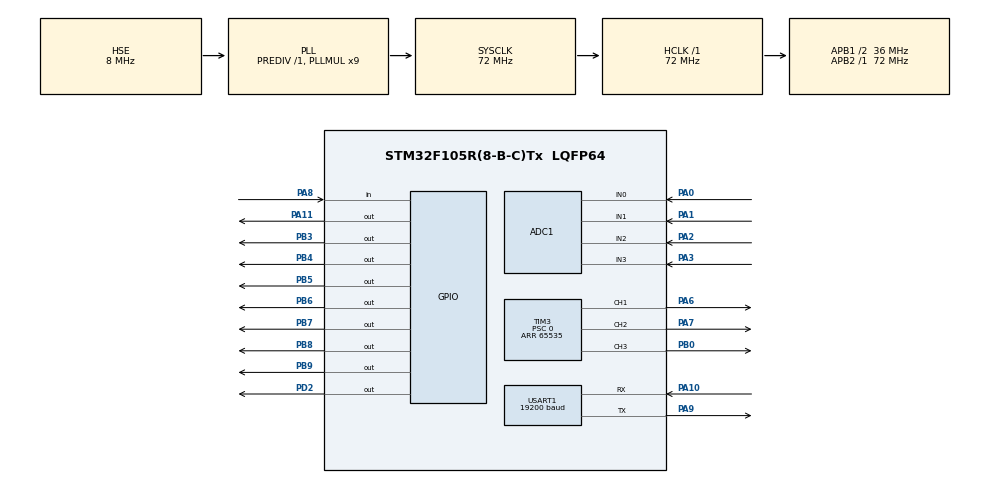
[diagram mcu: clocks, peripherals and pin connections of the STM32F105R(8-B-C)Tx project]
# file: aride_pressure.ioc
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ADC1.Channel-0\#ChannelRegularConversion=ADC_CHANNEL_0
ADC1.Channel-1\#ChannelInjectedConversion=ADC_CHANNEL_0
ADC1.Channel-2\#ChannelInjectedConversion=ADC_CHANNEL_1
ADC1.Channel-3\#ChannelInjectedConversion=ADC_CHANNEL_2
ADC1.Channel-4\#ChannelInjectedConversion=ADC_CHANNEL_3
ADC1.InjNumberOfConversion=4
ADC1.InjectedOffset-1\#ChannelInjectedConversion=0
ADC1.InjectedOffset-2\#ChannelInjectedConversion=0
ADC1.InjectedOffset-3\#ChannelInjectedConversion=0
ADC1.InjectedOffset-4\#ChannelInjectedConversion=0
ADC1.NbrOfConversionFlag=1
ADC1.Rank-0\#ChannelRegularConversion=1
ADC1.Rank-1\#ChannelInjectedConversion=1
ADC1.Rank-2\#ChannelInjectedConversion=2
ADC1.Rank-3\#ChannelInjectedConversion=3
ADC1.Rank-4\#ChannelInjectedConversion=4
ADC1.SamplingTime-0\#ChannelRegularConversion=ADC_SAMPLETIME_1CYCLE_5
ADC1.SamplingTime-1\#ChannelInjectedConversion=ADC_SAMPLETIME_239CYCLES_5
ADC1.SamplingTime-2\#ChannelInjectedConversion=ADC_SAMPLETIME_239CYCLES_5
ADC1.SamplingTime-3\#ChannelInjectedConversion=ADC_SAMPLETIME_239CYCLES_5
ADC1.SamplingTime-4\#ChannelInjectedConversion=ADC_SAMPLETIME_239CYCLES_5
ADC1.master=1
Dma.Request0=USART1_TX
Dma.USART1_TX.0.Direction=DMA_MEMORY_TO_PERIPH
Dma.USART1_TX.0.Instance=DMA1_Channel4
Dma.USART1_TX.0.MemDataAlignment=DMA_MDATAALIGN_BYTE
Dma.USART1_TX.0.MemInc=DMA_MINC_ENABLE
Dma.USART1_TX.0.Mode=DMA_NORMAL
Dma.USART1_TX.0.PeriphDataAlignment=DMA_PDATAALIGN_BYTE
Dma.USART1_TX.0.PeriphInc=DMA_PINC_DISABLE
Dma.USART1_TX.0.Priority=DMA_PRIORITY_LOW
FREERTOS.Tasks01=defaultTask,0,128,StartDefaultTask,Default,NULL
FREERTOS.configTOTAL_HEAP_SIZE=20000
Mcu.Family=STM32F1
Mcu.Name=STM32F105R(8-B-C)Tx
Mcu.Package=LQFP64
NVIC.ADC1_2_IRQn=true\:5\:0\:false\:false\:true\:true\:true\:true
NVIC.DMA1_Channel4_IRQn=true\:5\:0\:false\:false\:true\:true\:false\:true
NVIC.PriorityGroup=NVIC_PRIORITYGROUP_4
NVIC.TIM3_IRQn=true\:5\:0\:false\:false\:true\:true\:true\:true
NVIC.USART1_IRQn=true\:5\:0\:false\:false\:true\:true\:true\:true
PA0-WKUP.Signal=ADCx_IN0
PA1.Signal=ADCx_IN1
PA10.Mode=Asynchronous
PA10.Signal=USART1_RX
PA11.GPIO_Speed=GPIO_SPEED_FREQ_MEDIUM
PA11.PinState=GPIO_PIN_SET
PA11.Signal=GPIO_Output
PA13.Mode=Serial_Wire
PA13.Signal=SYS_JTMS-SWDIO
PA14.Mode=Serial_Wire
PA14.Signal=SYS_JTCK-SWCLK
PA2.Signal=ADCx_IN2
PA3.Signal=ADCx_IN3
PA6.Signal=S_TIM3_CH1
PA7.Signal=S_TIM3_CH2
PA8.Signal=GPIO_Input
PA9.Mode=Asynchronous
PA9.Signal=USART1_TX
PB0.Signal=S_TIM3_CH3
PB3.GPIO_Speed=GPIO_SPEED_FREQ_HIGH
PB3.Signal=GPIO_Output
PB4.GPIO_Speed=GPIO_SPEED_FREQ_HIGH
PB4.Signal=GPIO_Output
PB5.GPIO_Speed=GPIO_SPEED_FREQ_HIGH
PB5.Signal=GPIO_Output
PB6.GPIO_Speed=GPIO_SPEED_FREQ_HIGH
PB6.Signal=GPIO_Output
PB7.GPIO_Speed=GPIO_SPEED_FREQ_HIGH
PB7.Signal=GPIO_Output
PB8.GPIO_Speed=GPIO_SPEED_FREQ_HIGH
PB8.Signal=GPIO_Output
PB9.GPIO_Speed=GPIO_SPEED_FREQ_HIGH
PB9.Signal=GPIO_Output
PD0-OSC_IN.Mode=HSE-External-Oscillator
PD0-OSC_IN.Signal=RCC_OSC_IN
PD1-OSC_OUT.Mode=HSE-External-Oscillator
PD1-OSC_OUT.Signal=RCC_OSC_OUT
PD2.GPIO_Speed=GPIO_SPEED_FREQ_HIGH
PD2.Signal=GPIO_Output
ProjectManager.HeapSize=0x200
ProjectManager.StackSize=0x400
ProjectManager.TargetToolchain=TrueSTUDIO
RCC.ADCPresc=RCC_ADCPCLK2_DIV6
RCC.AHBFreq_Value=72000000
RCC.APB1CLKDivider=RCC_HCLK_DIV2
RCC.APB1Freq_Value=36000000
RCC.APB1TimFreq_Value=72000000
RCC.APB2Freq_Value=72000000
RCC.APB2TimFreq_Value=72000000
RCC.HCLKFreq_Value=72000000
RCC.PLLMUL=RCC_PLL_MUL9
RCC.PLLSourceVirtual=RCC_PLLSOURCE_HSE
RCC.SYSCLKFreq_VALUE=72000000
RCC.SYSCLKSource=RCC_SYSCLKSOURCE_PLLCLK
RCC.USBFreq_Value=48000000
SH.ADCx_IN0.0=ADC1_IN0,IN0
SH.ADCx_IN1.0=ADC1_IN1,IN1
SH.ADCx_IN2.0=ADC1_IN2,IN2
SH.ADCx_IN3.0=ADC1_IN3,IN3
SH.S_TIM3_CH1.0=TIM3_CH1,PWM Generation1 CH1
SH.S_TIM3_CH2.0=TIM3_CH2,PWM Generation2 CH2
SH.S_TIM3_CH3.0=TIM3_CH3,PWM Generation3 CH3
TIM3.Channel-PWM\ Generation1\ CH1=TIM_CHANNEL_1
TIM3.Channel-PWM\ Generation2\ CH2=TIM_CHANNEL_2
TIM3.Channel-PWM\ Generation3\ CH3=TIM_CHANNEL_3
TIM3.Period=65535
TIM3.Prescaler=0
USART1.BaudRate=19200
USART1.VirtualMode=VM_ASYNC
VP_FREERTOS_VS_CMSIS_V1.Mode=CMSIS_V1
VP_TIM3_VS_ClockSourceINT.Mode=Internal
board=custom

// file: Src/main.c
/* USER CODE BEGIN Header */
/**
  ******************************************************************************
  * @file           : main.c
  * @brief          : Main program body
  ******************************************************************************
  * @attention
  *
  * <h2><center>&copy; Copyright (c) 2019 STMicroelectronics.
  * All rights reserved.</center></h2>
  *
  * This software component is licensed by ST under Ultimate Liberty license
  * SLA0044, the "License"; You may not use this file except in compliance with
  * the License. You may obtain a copy of the License at:
  *                             www.st.com/SLA0044
  *
  ******************************************************************************
  */
/* USER CODE END Header */

#include "main.h"
#include "cmsis_os.h"

/* USER CODE BEGIN Includes */
#include "structures.h"
#include "controllerInit.h"
#include "controllerUtils.h"
/* USER CODE END Includes */

ADC_HandleTypeDef hadc1;

TIM_HandleTypeDef htim3;

UART_HandleTypeDef huart1;
DMA_HandleTypeDef hdma_usart1_tx;

osThreadId defaultTaskHandle;
/* USER CODE BEGIN PV */

GPIO_TypeDef * UP_PORT[4] = {C1_UP_PORT, C2_UP_PORT, C3_UP_PORT, C4_UP_PORT};
uint32_t UP_PIN[4] = {C1_UP_PIN, C2_UP_PIN, C3_UP_PIN, C4_UP_PIN};
GPIO_TypeDef * DOWN_PORT[4] = {C1_DOWN_PORT, C2_DOWN_PORT, C3_DOWN_PORT, C4_DOWN_PORT};
uint32_t DOWN_PIN[4] = {C1_DOWN_PIN, C2_DOWN_PIN, C3_DOWN_PIN, C4_DOWN_PIN};

uint16_t ADCRawData[4];
uint16_t sensorValue[4];

char message[128] = {0};
uint8_t messageLength = 0;

uint8_t recCommandBuffer[MAX_COMMAND_LENGTH];
uint8_t p_recCommandBuffer;
uint8_t recCommandByte;
uint8_t commandToProcessBuffer[MAX_COMMAND_LENGTH];
uint8_t p_commandToProcessBuffer;

uint16_t nessPressure[4] = {0};
uint16_t server_UID = 0;

enum AirSystemType airSystem = COMPRESSOR;

struct controllerData controllerSettings = {0};
uint16_t filteredData[4] = {0};

enum WorkState workState = FREE;
enum Compensation pressureCompensation = OFF;

xQueueHandle xRecCommandQueue;
xSemaphoreHandle xPressureCompensationSemaphore;
/* USER CODE END PV */

void SystemClock_Config(void);
static void MX_GPIO_Init(void);
static void MX_DMA_Init(void);
static void MX_ADC1_Init(void);
static void MX_TIM3_Init(void);
static void MX_USART1_UART_Init(void);
void StartDefaultTask(void const * argument);

int main(void)
{

  /* MCU Configuration--------------------------------------------------------*/

  /* Reset of all peripherals, Initializes the Flash interface and the Systick. */
  HAL_Init();

  /* Configure the system clock */
  SystemClock_Config();

  /* Initialize all configured peripherals */
  MX_GPIO_Init();
  MX_DMA_Init();
  MX_ADC1_Init();
  MX_TIM3_Init();
  MX_USART1_UART_Init();
  /* USER CODE BEGIN 2 */
  controller_init();
  /* USER CODE END 2 */

  /* Create the thread(s) */
  /* definition and creation of defaultTask */

  /* Start scheduler */
  osKernelStart();

  /* We should never get here as control is now taken by the scheduler */

  /* Infinite loop */
  while (1)
  {

  }
}

void SystemClock_Config(void)
{
  RCC_OscInitTypeDef RCC_OscInitStruct = {0};
  RCC_ClkInitTypeDef RCC_ClkInitStruct = {0};
  RCC_PeriphCLKInitTypeDef PeriphClkInit = {0};

  /** Initializes the CPU, AHB and APB busses clocks
  */
  RCC_OscInitStruct.OscillatorType = RCC_OSCILLATORTYPE_HSE;
  RCC_OscInitStruct.HSEState = RCC_HSE_ON;
  RCC_OscInitStruct.HSEPredivValue = RCC_HSE_PREDIV_DIV1;
  RCC_OscInitStruct.HSIState = RCC_HSI_ON;
  RCC_OscInitStruct.Prediv1Source = RCC_PREDIV1_SOURCE_HSE;
  RCC_OscInitStruct.PLL.PLLState = RCC_PLL_ON;
  RCC_OscInitStruct.PLL.PLLSource = RCC_PLLSOURCE_HSE;
  RCC_OscInitStruct.PLL.PLLMUL = RCC_PLL_MUL9;
  RCC_OscInitStruct.PLL2.PLL2State = RCC_PLL_NONE;
  if (HAL_RCC_OscConfig(&RCC_OscInitStruct) != HAL_OK)
  {
    Error_Handler();
  }
  /** Initializes the CPU, AHB and APB busses clocks
  */
  RCC_ClkInitStruct.ClockType = RCC_CLOCKTYPE_HCLK|RCC_CLOCKTYPE_SYSCLK
                              |RCC_CLOCKTYPE_PCLK1|RCC_CLOCKTYPE_PCLK2;
  RCC_ClkInitStruct.SYSCLKSource = RCC_SYSCLKSOURCE_PLLCLK;
  RCC_ClkInitStruct.AHBCLKDivider = RCC_SYSCLK_DIV1;
  RCC_ClkInitStruct.APB1CLKDivider = RCC_HCLK_DIV2;
  RCC_ClkInitStruct.APB2CLKDivider = RCC_HCLK_DIV1;

  if (HAL_RCC_ClockConfig(&RCC_ClkInitStruct, FLASH_LATENCY_2) != HAL_OK)
  {
    Error_Handler();
  }
  PeriphClkInit.PeriphClockSelection = RCC_PERIPHCLK_ADC;
  PeriphClkInit.AdcClockSelection = RCC_ADCPCLK2_DIV6;
  if (HAL_RCCEx_PeriphCLKConfig(&PeriphClkInit) != HAL_OK)
  {
    Error_Handler();
  }
  /** Configure the Systick interrupt time
  */
  __HAL_RCC_PLLI2S_ENABLE();
}

static void MX_ADC1_Init(void)
{

  ADC_ChannelConfTypeDef sConfig = {0};
  ADC_InjectionConfTypeDef sConfigInjected = {0};

  /** Common config
  */
  hadc1.Instance = ADC1;
  hadc1.Init.ScanConvMode = ADC_SCAN_ENABLE;
  hadc1.Init.ContinuousConvMode = DISABLE;
  hadc1.Init.DiscontinuousConvMode = DISABLE;
  hadc1.Init.ExternalTrigConv = ADC_SOFTWARE_START;
  hadc1.Init.DataAlign = ADC_DATAALIGN_RIGHT;
  hadc1.Init.NbrOfConversion = 1;
  if (HAL_ADC_Init(&hadc1) != HAL_OK)
  {
    Error_Handler();
  }
  /** Configure Regular Channel
  */
  sConfig.Channel = ADC_CHANNEL_0;
  sConfig.Rank = ADC_REGULAR_RANK_1;
  sConfig.SamplingTime = ADC_SAMPLETIME_1CYCLE_5;
  if (HAL_ADC_ConfigChannel(&hadc1, &sConfig) != HAL_OK)
  {
    Error_Handler();
  }
  /** Configure Injected Channel
  */
  sConfigInjected.InjectedChannel = ADC_CHANNEL_0;
  sConfigInjected.InjectedRank = ADC_INJECTED_RANK_1;
  sConfigInjected.InjectedNbrOfConversion = 4;
  sConfigInjected.InjectedSamplingTime = ADC_SAMPLETIME_239CYCLES_5;
  sConfigInjected.ExternalTrigInjecConv = ADC_INJECTED_SOFTWARE_START;
  sConfigInjected.AutoInjectedConv = DISABLE;
  sConfigInjected.InjectedDiscontinuousConvMode = DISABLE;
  sConfigInjected.InjectedOffset = 0;
  if (HAL_ADCEx_InjectedConfigChannel(&hadc1, &sConfigInjected) != HAL_OK)
  {
    Error_Handler();
  }
  /** Configure Injected Channel
  */
  sConfigInjected.InjectedChannel = ADC_CHANNEL_1;
  sConfigInjected.InjectedRank = ADC_INJECTED_RANK_2;
  if (HAL_ADCEx_InjectedConfigChannel(&hadc1, &sConfigInjected) != HAL_OK)
  {
    Error_Handler();
  }
  /** Configure Injected Channel
  */
  sConfigInjected.InjectedChannel = ADC_CHANNEL_2;
  sConfigInjected.InjectedRank = ADC_INJECTED_RANK_3;
  if (HAL_ADCEx_InjectedConfigChannel(&hadc1, &sConfigInjected) != HAL_OK)
  {
    Error_Handler();
  }
  /** Configure Injected Channel
  */
  sConfigInjected.InjectedChannel = ADC_CHANNEL_3;
  sConfigInjected.InjectedRank = ADC_INJECTED_RANK_4;
  if (HAL_ADCEx_InjectedConfigChannel(&hadc1, &sConfigInjected) != HAL_OK)
  {
    Error_Handler();
  }

}

static void MX_TIM3_Init(void)
{

  TIM_ClockConfigTypeDef sClockSourceConfig = {0};
  TIM_MasterConfigTypeDef sMasterConfig = {0};
  TIM_OC_InitTypeDef sConfigOC = {0};

  htim3.Instance = TIM3;
  htim3.Init.Prescaler = 0;
  htim3.Init.CounterMode = TIM_COUNTERMODE_UP;
  htim3.Init.Period = 65535;
  htim3.Init.ClockDivision = TIM_CLOCKDIVISION_DIV1;
  htim3.Init.AutoReloadPreload = TIM_AUTORELOAD_PRELOAD_DISABLE;
  if (HAL_TIM_Base_Init(&htim3) != HAL_OK)
  {
    Error_Handler();
  }
  sClockSourceConfig.ClockSource = TIM_CLOCKSOURCE_INTERNAL;
  if (HAL_TIM_ConfigClockSource(&htim3, &sClockSourceConfig) != HAL_OK)
  {
    Error_Handler();
  }
  if (HAL_TIM_PWM_Init(&htim3) != HAL_OK)
  {
    Error_Handler();
  }
  sMasterConfig.MasterOutputTrigger = TIM_TRGO_RESET;
  sMasterConfig.MasterSlaveMode = TIM_MASTERSLAVEMODE_DISABLE;
  if (HAL_TIMEx_MasterConfigSynchronization(&htim3, &sMasterConfig) != HAL_OK)
  {
    Error_Handler();
  }
  sConfigOC.OCMode = TIM_OCMODE_PWM1;
  sConfigOC.Pulse = 0;
  sConfigOC.OCPolarity = TIM_OCPOLARITY_HIGH;
  sConfigOC.OCFastMode = TIM_OCFAST_DISABLE;
  if (HAL_TIM_PWM_ConfigChannel(&htim3, &sConfigOC, TIM_CHANNEL_1) != HAL_OK)
  {
    Error_Handler();
  }
  if (HAL_TIM_PWM_ConfigChannel(&htim3, &sConfigOC, TIM_CHANNEL_2) != HAL_OK)
  {
    Error_Handler();
  }
  if (HAL_TIM_PWM_ConfigChannel(&htim3, &sConfigOC, TIM_CHANNEL_3) != HAL_OK)
  {
    Error_Handler();
  }
  HAL_TIM_MspPostInit(&htim3);

}

static void MX_USART1_UART_Init(void)
{

  huart1.Instance = USART1;
  huart1.Init.BaudRate = 9600;
  huart1.Init.WordLength = UART_WORDLENGTH_8B;
  huart1.Init.StopBits = UART_STOPBITS_1;
  huart1.Init.Parity = UART_PARITY_NONE;
  huart1.Init.Mode = UART_MODE_TX_RX;
  huart1.Init.HwFlowCtl = UART_HWCONTROL_NONE;
  huart1.Init.OverSampling = UART_OVERSAMPLING_16;
  if (HAL_UART_Init(&huart1) != HAL_OK)
  {
    Error_Handler();
  }

}

static void MX_DMA_Init(void)
{
  /* DMA controller clock enable */
  __HAL_RCC_DMA1_CLK_ENABLE();

  /* DMA interrupt init */
  /* DMA1_Channel4_IRQn interrupt configuration */
  HAL_NVIC_SetPriority(DMA1_Channel4_IRQn, 5, 0);
  HAL_NVIC_EnableIRQ(DMA1_Channel4_IRQn);

}

static void MX_GPIO_Init(void)
{
  GPIO_InitTypeDef GPIO_InitStruct = {0};

  /* GPIO Ports Clock Enable */
  __HAL_RCC_GPIOD_CLK_ENABLE();
  __HAL_RCC_GPIOA_CLK_ENABLE();
  __HAL_RCC_GPIOB_CLK_ENABLE();

  /*Configure GPIO pin Output Level */
  HAL_GPIO_WritePin(GPIOA, GPIO_PIN_11, GPIO_PIN_SET);

  /*Configure GPIO pin Output Level */
  HAL_GPIO_WritePin(GPIOD, GPIO_PIN_2, GPIO_PIN_RESET);

  /*Configure GPIO pin Output Level */
  HAL_GPIO_WritePin(GPIOB, GPIO_PIN_3|GPIO_PIN_4|GPIO_PIN_5|GPIO_PIN_6
                          |GPIO_PIN_7|GPIO_PIN_8|GPIO_PIN_9, GPIO_PIN_RESET);

  /*Configure GPIO pin : PA8 */
  GPIO_InitStruct.Pin = GPIO_PIN_8;
  GPIO_InitStruct.Mode = GPIO_MODE_INPUT;
  GPIO_InitStruct.Pull = GPIO_NOPULL;
  HAL_GPIO_Init(GPIOA, &GPIO_InitStruct);

  /*Configure GPIO pin : PA11 */
  GPIO_InitStruct.Pin = GPIO_PIN_11;
  GPIO_InitStruct.Mode = GPIO_MODE_OUTPUT_PP;
  GPIO_InitStruct.Pull = GPIO_NOPULL;
  GPIO_InitStruct.Speed = GPIO_SPEED_FREQ_MEDIUM;
  HAL_GPIO_Init(GPIOA, &GPIO_InitStruct);

  /*Configure GPIO pin : PD2 */
  GPIO_InitStruct.Pin = GPIO_PIN_2;
  GPIO_InitStruct.Mode = GPIO_MODE_OUTPUT_PP;
  GPIO_InitStruct.Pull = GPIO_NOPULL;
  GPIO_InitStruct.Speed = GPIO_SPEED_FREQ_MEDIUM;
  HAL_GPIO_Init(GPIOD, &GPIO_InitStruct);

  /*Configure GPIO pins : PB3 PB4 PB5 PB6
                           PB7 PB8 PB9 */
  GPIO_InitStruct.Pin = GPIO_PIN_3|GPIO_PIN_4|GPIO_PIN_5|GPIO_PIN_6
                          |GPIO_PIN_7|GPIO_PIN_8|GPIO_PIN_9;
  GPIO_InitStruct.Mode = GPIO_MODE_OUTPUT_PP;
  GPIO_InitStruct.Pull = GPIO_NOPULL;
  GPIO_InitStruct.Speed = GPIO_SPEED_FREQ_MEDIUM;
  HAL_GPIO_Init(GPIOB, &GPIO_InitStruct);

}

/* USER CODE BEGIN 4 */

void HAL_UART_RxCpltCallback(UART_HandleTypeDef *huart){
	if(huart->Instance == USART1){
		if (recCommandByte != '\r'){
			recCommandBuffer[p_recCommandBuffer] = recCommandByte;
			p_recCommandBuffer++;

			if (p_recCommandBuffer == MAX_COMMAND_LENGTH) p_recCommandBuffer = 0;

			if(recCommandByte == '\n'){
				memcpy(commandToProcessBuffer, recCommandBuffer, p_recCommandBuffer);
				portBASE_TYPE r1;
				xQueueSendToBackFromISR(xRecCommandQueue, &commandToProcessBuffer, &r1);
				p_recCommandBuffer = 0;
			}
//			else if (recCommandByte == 0xFF) {
//				p_recCommandBuffer = 0;
//			}
		}

		HAL_UART_Receive_IT(&huart1, &recCommandByte, 1);
	}
}

void HAL_ADCEx_InjectedConvCpltCallback(ADC_HandleTypeDef* hadc1){
	  ADCRawData[0]=HAL_ADCEx_InjectedGetValue(hadc1,ADC_INJECTED_RANK_1);
	  ADCRawData[1]=HAL_ADCEx_InjectedGetValue(hadc1,ADC_INJECTED_RANK_2);
	  ADCRawData[2]=HAL_ADCEx_InjectedGetValue(hadc1,ADC_INJECTED_RANK_3);
	  ADCRawData[3]=HAL_ADCEx_InjectedGetValue(hadc1,ADC_INJECTED_RANK_4);
}
/* USER CODE END 4 */

//void StartDefaultTask(void const * argument)
//{
//
//  /* USER CODE BEGIN 5 */
//    uint16_t r = 10000;
//    int16_t rInc = 100;
//    uint16_t b = 20000;
//    uint16_t g = 30000;
//    int16_t bInc = -100;
//    int16_t gInc = -100;
//  /* Infinite loop */
//  for(;;)
//  {
//	r += rInc;
//	g += gInc;
//	b += bInc;
//	if ((r > 45400) || (r < 200)) rInc = -rInc;
//	if ((g > 45400) || (g < 200)) gInc = -gInc;
//	if ((b > 45400) || (b < 200)) bInc = -bInc;
//
//	TIM3->CCR1 = b; //B
//	TIM3->CCR2 = g; //G
//	TIM3->CCR3 = r; //R
//    osDelay(10);
//  }
//  /* USER CODE END 5 */
//}

void Error_Handler(void)
{
}

/************************ (C) COPYRIGHT STMicroelectronics *****END OF FILE****/
